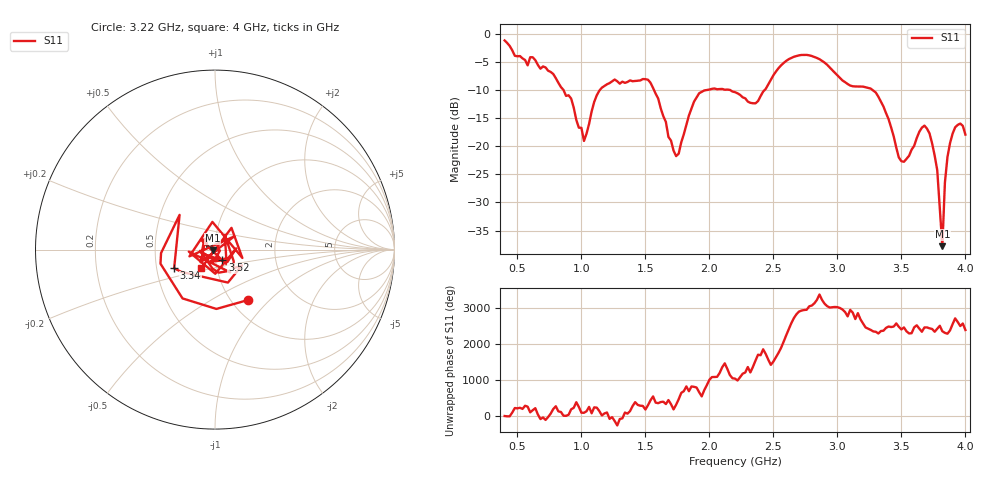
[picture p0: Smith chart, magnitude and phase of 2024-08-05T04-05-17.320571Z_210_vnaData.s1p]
!Created with skrf (http://scikit-rf.org).
# Hz S RI R 50.0
!freq ReS11 ImS11
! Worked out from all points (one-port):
!   181 points, 400 MHz to 4 GHz, reference 50 ohm
!   lowest |S11| = -37.8 dB at 3.82 GHz (marker M1), VSWR 1.03, Z = 48.8 - j0.381 ohm
!   |S11| at or under -10 dB: 860.6 MHz to 1.144 GHz (283 MHz wide, 28.2 % of centre); 1.568 GHz to 1.973 GHz (405.4 MHz wide, 22.9 % of centre); 3.276 GHz to end of sweep (the widest 3 of 4)
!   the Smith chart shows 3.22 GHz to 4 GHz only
!   S11 on the Smith chart (normalised r, x): 3.22 GHz: 1.19, -0.75; 3.34 GHz: 0.62, -0.14; 3.52 GHz: 1.08, -0.13; 4 GHz: 0.84, -0.17
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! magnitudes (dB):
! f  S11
! 400 MHz  -1.2
! 860 MHz  -10.0
! 920 MHz  -11.5
! 1.02 GHz  -19.0
! 1.14 GHz  -10.1
! 1.3 GHz  -8.8
! 1.52 GHz  -8.1
! 1.6 GHz  -11.5
! 1.72 GHz  -20.8
! 1.76 GHz  -21.3
! 1.92 GHz  -10.6
! 2.2 GHz  -10.4
! 2.36 GHz  -12.3
! 2.66 GHz  -4.1
! 2.86 GHz  -4.5
! 3.1 GHz  -9.2
! 3.22 GHz  -9.5
! 3.34 GHz  -12.0
! 3.52 GHz  -22.8
! 3.56 GHz  -21.7
! 3.66 GHz  -16.7
! 3.72 GHz  -17.7
! 3.78 GHz  -24.2
! 3.82 GHz  -37.8
! 3.84 GHz  -26.4
! 3.88 GHz  -19.4
! 3.94 GHz  -16.2
! 4 GHz  -17.9
